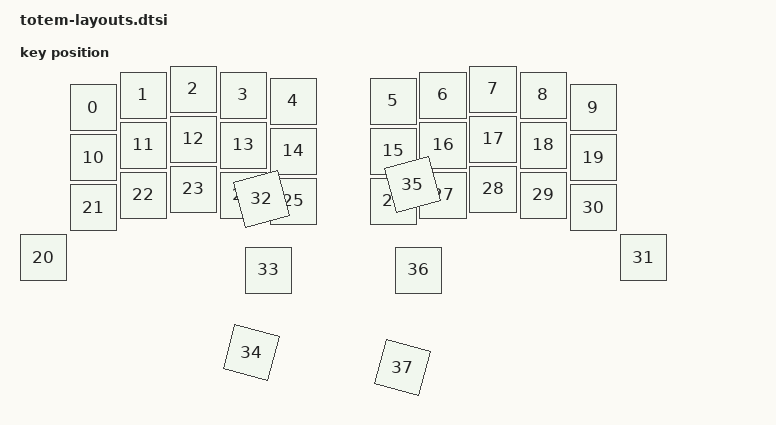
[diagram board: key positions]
#include <physical_layouts.dtsi>

/ {
    totem_layout: totem_layout {
        compatible = "zmk,physical-layout";
        display-name = "Default Layout";
        transform = <&default_transform>;
        kscan = <&kscan0>;

        keys = <
            /* Top Row - Left */
            &key_physical_attrs 100 100 100 37 0 0 0
            &key_physical_attrs 100 100 200 12 0 0 0
            &key_physical_attrs 100 100 300 0 0 0 0
            &key_physical_attrs 100 100 400 12 0 0 0
            &key_physical_attrs 100 100 500 24 0 0 0
            
            /* Top Row - Right */
            &key_physical_attrs 100 100 700 24 0 0 0
            &key_physical_attrs 100 100 800 12 0 0 0
            &key_physical_attrs 100 100 900 0 0 0 0
            &key_physical_attrs 100 100 1000 12 0 0 0
            &key_physical_attrs 100 100 1100 37 0 0 0

            /* Home Row - Left */
            &key_physical_attrs 100 100 100 137 0 0 0
            &key_physical_attrs 100 100 200 112 0 0 0
            &key_physical_attrs 100 100 300 100 0 0 0
            &key_physical_attrs 100 100 400 112 0 0 0
            &key_physical_attrs 100 100 500 124 0 0 0

            /* Home Row - Right */
            &key_physical_attrs 100 100 700 124 0 0 0
            &key_physical_attrs 100 100 800 112 0 0 0
            &key_physical_attrs 100 100 900 100 0 0 0
            &key_physical_attrs 100 100 1000 112 0 0 0
            &key_physical_attrs 100 100 1100 137 0 0 0

            /* Bottom Row + Outer Pinkies - Left */
            &key_physical_attrs 100 100 0 337 0 0 0     /* RC(3,0) Outer */
            &key_physical_attrs 100 100 100 237 0 0 0   /* RC(2,0) */
            &key_physical_attrs 100 100 200 212 0 0 0   /* RC(2,1) */
            &key_physical_attrs 100 100 300 200 0 0 0   /* RC(2,2) */
            &key_physical_attrs 100 100 400 212 0 0 0   /* RC(2,3) */
            &key_physical_attrs 100 100 500 224 0 0 0   /* RC(2,4) */

            /* Bottom Row + Outer Pinkies - Right */
            &key_physical_attrs 100 100 700 224 0 0 0   /* RC(2,5) */
            &key_physical_attrs 100 100 800 212 0 0 0   /* RC(2,6) */
            &key_physical_attrs 100 100 900 200 0 0 0   /* RC(2,7) */
            &key_physical_attrs 100 100 1000 212 0 0 0  /* RC(2,8) */
            &key_physical_attrs 100 100 1100 237 0 0 0  /* RC(2,9) */
            &key_physical_attrs 100 100 1200 337 0 0 0  /* RC(3,9) Outer */

            /* Thumb Cluster - Left */
            &key_physical_attrs 100 100 350 337 (-1500) 0 0 /* RC(3,2) */
            &key_physical_attrs 100 100 450 362 0 0 0       /* RC(3,3) */
            &key_physical_attrs 100 100 550 387 1500 0 0    /* RC(3,4) */

            /* Thumb Cluster - Right */
            &key_physical_attrs 100 100 650 387 (-1500) 0 0 /* RC(3,5) */
            &key_physical_attrs 100 100 750 362 0 0 0       /* RC(3,6) */
            &key_physical_attrs 100 100 850 337 1500 0 0    /* RC(3,7) */
        >;
    };
};
